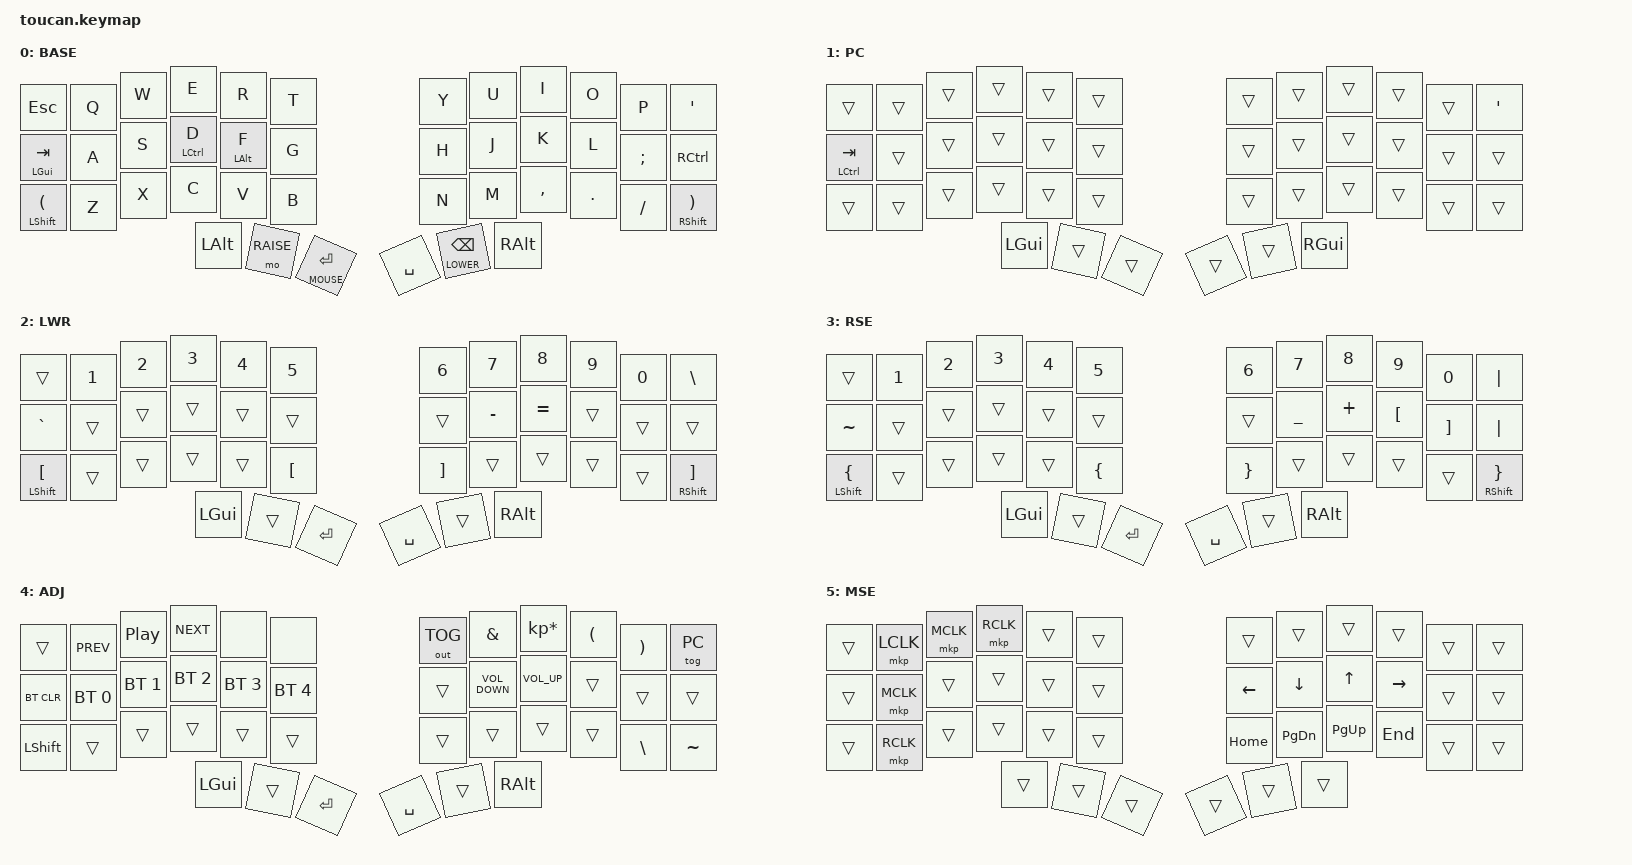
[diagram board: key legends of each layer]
#include <behaviors.dtsi>
#include <dt-bindings/zmk/keys.h>
#include <dt-bindings/zmk/pointing.h>
#include <dt-bindings/zmk/bt.h>
#include <dt-bindings/zmk/outputs.h>
#include "layer-defs.h"

/ {
       behaviors {
            tp: tap_mods {
                compatible = "zmk,behavior-hold-tap";
                label = "TAP_MODS";
                tapping-term-ms = <225>;
                quick-tap-ms = <190>;
                flavor = "balanced";
                #binding-cells = <2>;
                bindings = <&kp>, <&kp>;
            };

            tl: layer_tap {
                compatible = "zmk,behavior-hold-tap";
                label = "LAYER_TAP";
                tapping-term-ms = <225>;
                quick-tap-ms = <190>;
                flavor = "hold-preferred";
                #binding-cells = <2>;
                bindings = <&mo>, <&kp>;
            };
        };    

        conditional_layers {
        compatible = "zmk,conditional-layers";
        tri_layer {
            if-layers = <LOWER RAISE>;
            then-layer = <ADJUST>;
        };

    };

    keymap {
        compatible = "zmk,keymap";

        base {
            display-name = "BASE";
            bindings = <
   &kp ESC   &kp Q &kp W &kp E &kp R &kp T   &kp Y &kp U  &kp I     &kp O   &kp P    &kp SQT
   &tp LGUI TAB   &kp A &kp S &tp LCTRL D &tp LALT F &kp G   &kp H &kp J  &kp K     &kp L   &kp SEMI &kp RCTRL
   &tp LSHFT LPAR &kp Z &kp X &kp C &kp V &kp B   &kp N &kp M  &kp COMMA &kp DOT &kp FSLH &tp RSHFT RPAR
                    &kp LALT &mo RAISE &tl MOUSE RET   &kp SPACE &tl LOWER BSPC &kp RALT
            >;
        };

        pc {
            display-name = "PC";
            bindings = <
    &trans        &trans &trans &trans  &trans &trans &trans &trans &trans &trans &trans &kp SQT
    &mt LCTRL TAB &trans &trans &trans  &trans &trans &trans &trans &trans &trans &trans &trans
    &trans        &trans &trans &trans  &trans &trans &trans &trans &trans &trans &trans &trans
                                &kp LGUI  &trans &trans &trans &trans &kp RGUI
            >;
        };

        lower {
            display-name = "LWR";
            bindings = <
   &trans    &kp N1       &kp N2       &kp N3       &kp N4       &kp N5            &kp N6   &kp N7   &kp N8 &kp N9    &kp N0 &kp BSLH 
   &kp GRAVE &trans  &trans  &trans  &trans &trans      &trans &kp MINUS &kp EQUAL &trans &trans &trans
   &tp LSHIFT LBKT  &trans       &trans       &trans       &trans       &kp LBKT            &kp RBKT   &trans   &trans &trans &trans  &tp RSHIFT RBKT
                                        &kp LGUI     &trans       &kp RET         &kp SPACE &trans &kp RALT
            >;
        };

        raise {
            display-name = "RSE";
            bindings = <
    &trans  &kp N1       &kp N2       &kp N3       &kp N4       &kp N5            &kp N6   &kp N7   &kp N8 &kp N9    &kp N0 &kp PIPE
    &kp TILDE &trans    &trans  &trans &trans &trans      &trans &kp UNDER &kp PLUS &kp LBKT        &kp RBKT &kp PIPE
    &tp LSHIFT LBRC &trans    &trans  &trans     &trans     &kp LBRC      &kp RBRC    &trans    &trans          &trans   &trans &tp RSHIFT RBRC
                                   &kp LGUI &trans &kp RET   &kp SPACE &trans &kp RALT
            >;
        };

        adjust {
                display-name = "ADJ";
                bindings = <
    &trans  &kp C_PREV  &kp C_PP  &kp C_NEXT   &none   &none   &out OUT_TOG &kp AMPS  &kp KP_MULTIPLY &kp LPAR &kp RPAR &tog PC
    &bt BT_CLR &bt BT_SEL 0 &bt BT_SEL 1 &bt BT_SEL 2 &bt BT_SEL 3 &bt BT_SEL 4     &trans &kp C_VOLUME_DOWN &kp C_VOLUME_UP &trans &trans &trans 
    &kp LSHFT &trans    &trans  &trans     &trans     &trans      &trans    &trans    &trans          &trans   &kp BSLH &kp TILDE
                                   &kp LGUI &trans &kp RET   &kp SPACE &trans &kp RALT
                        >;
        };

        mouse {
               display-name = "MSE";
               bindings = <
    &trans &mkp LCLK &mkp MCLK &mkp RCLK &trans &trans &trans &trans &trans &trans &trans &trans 
    &trans &mkp MCLK &trans &trans &trans &trans &kp LEFT &kp DOWN  &kp UP    &kp RIGHT &trans &trans
    &trans &mkp RCLK &trans &trans &trans &trans &kp HOME &kp PG_DN &kp PG_UP &kp END   &trans &trans
    &trans &trans &trans                                                &trans     &trans &trans 
                        >;
        };

        extra_3 {
                status = "reserved";
        };
    };
};

